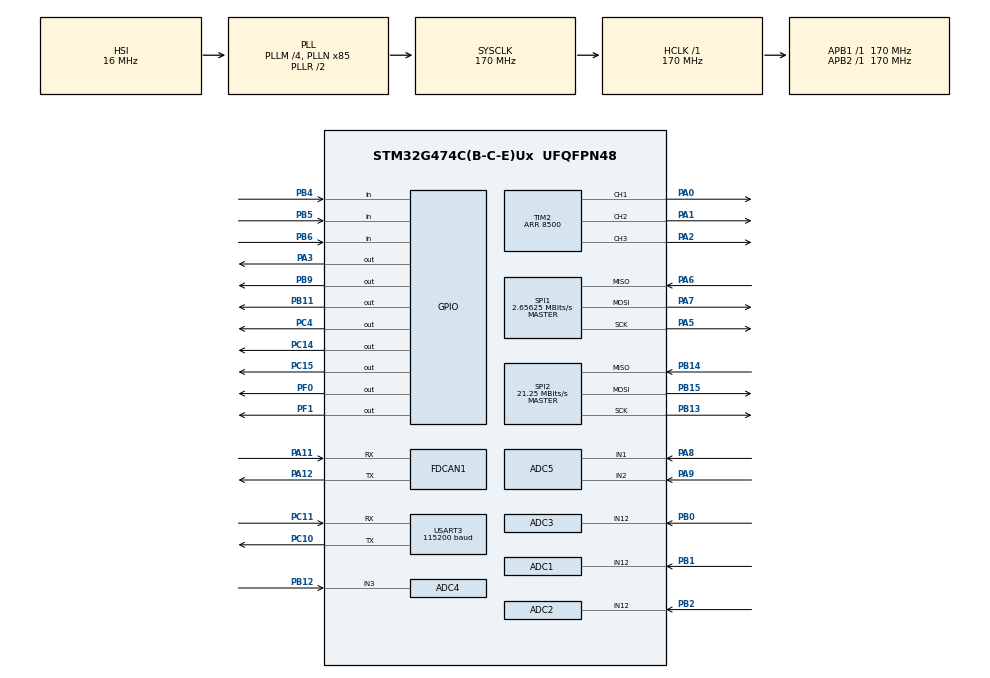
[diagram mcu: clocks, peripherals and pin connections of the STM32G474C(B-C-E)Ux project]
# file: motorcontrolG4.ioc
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ADC1.Channel-0\#ChannelRegularConversion=ADC_CHANNEL_12
ADC1.NbrOfConversionFlag=1
ADC1.master=1
ADC2.Channel-0\#ChannelRegularConversion=ADC_CHANNEL_12
ADC2.NbrOfConversionFlag=1
ADC3.Channel-0\#ChannelRegularConversion=ADC_CHANNEL_12
ADC3.NbrOfConversionFlag=1
ADC3.master=1
ADC4.Channel-0\#ChannelRegularConversion=ADC_CHANNEL_3
ADC4.NbrOfConversionFlag=1
ADC5.Channel-0\#ChannelRegularConversion=ADC_CHANNEL_1
ADC5.GainCompensation=0
ADC5.NbrOfConversionFlag=1
ADC5.OffsetNumber-0\#ChannelRegularConversion=ADC_OFFSET_NONE
ADC5.Rank-0\#ChannelRegularConversion=1
ADC5.SamplingTime-0\#ChannelRegularConversion=ADC_SAMPLETIME_2CYCLES_5
Dma.ADC1.0.Direction=DMA_PERIPH_TO_MEMORY
Dma.ADC1.0.EventEnable=DISABLE
Dma.ADC1.0.Instance=DMA1_Channel1
Dma.ADC1.0.MemDataAlignment=DMA_MDATAALIGN_HALFWORD
Dma.ADC1.0.MemInc=DMA_MINC_ENABLE
Dma.ADC1.0.Mode=DMA_NORMAL
Dma.ADC1.0.PeriphDataAlignment=DMA_PDATAALIGN_HALFWORD
Dma.ADC1.0.PeriphInc=DMA_PINC_DISABLE
Dma.ADC1.0.Polarity=HAL_DMAMUX_REQ_GEN_RISING
Dma.ADC1.0.Priority=DMA_PRIORITY_LOW
Dma.ADC1.0.RequestNumber=1
Dma.ADC1.0.SignalID=NONE
Dma.ADC1.0.SyncEnable=DISABLE
Dma.ADC1.0.SyncPolarity=HAL_DMAMUX_SYNC_NO_EVENT
Dma.ADC1.0.SyncRequestNumber=1
Dma.ADC1.0.SyncSignalID=NONE
Dma.ADC2.1.Direction=DMA_PERIPH_TO_MEMORY
Dma.ADC2.1.EventEnable=DISABLE
Dma.ADC2.1.Instance=DMA1_Channel2
Dma.ADC2.1.MemDataAlignment=DMA_MDATAALIGN_HALFWORD
Dma.ADC2.1.MemInc=DMA_MINC_ENABLE
Dma.ADC2.1.Mode=DMA_NORMAL
Dma.ADC2.1.PeriphDataAlignment=DMA_PDATAALIGN_HALFWORD
Dma.ADC2.1.PeriphInc=DMA_PINC_DISABLE
Dma.ADC2.1.Polarity=HAL_DMAMUX_REQ_GEN_RISING
Dma.ADC2.1.Priority=DMA_PRIORITY_LOW
Dma.ADC2.1.RequestNumber=1
Dma.ADC2.1.SignalID=NONE
Dma.ADC2.1.SyncEnable=DISABLE
Dma.ADC2.1.SyncPolarity=HAL_DMAMUX_SYNC_NO_EVENT
Dma.ADC2.1.SyncRequestNumber=1
Dma.ADC2.1.SyncSignalID=NONE
Dma.ADC3.2.Direction=DMA_PERIPH_TO_MEMORY
Dma.ADC3.2.EventEnable=DISABLE
Dma.ADC3.2.Instance=DMA1_Channel3
Dma.ADC3.2.MemDataAlignment=DMA_MDATAALIGN_HALFWORD
Dma.ADC3.2.MemInc=DMA_MINC_ENABLE
Dma.ADC3.2.Mode=DMA_NORMAL
Dma.ADC3.2.PeriphDataAlignment=DMA_PDATAALIGN_HALFWORD
Dma.ADC3.2.PeriphInc=DMA_PINC_DISABLE
Dma.ADC3.2.Polarity=HAL_DMAMUX_REQ_GEN_RISING
Dma.ADC3.2.Priority=DMA_PRIORITY_LOW
Dma.ADC3.2.RequestNumber=1
Dma.ADC3.2.SignalID=NONE
Dma.ADC3.2.SyncEnable=DISABLE
Dma.ADC3.2.SyncPolarity=HAL_DMAMUX_SYNC_NO_EVENT
Dma.ADC3.2.SyncRequestNumber=1
Dma.ADC3.2.SyncSignalID=NONE
Dma.ADC4.3.Direction=DMA_PERIPH_TO_MEMORY
Dma.ADC4.3.EventEnable=DISABLE
Dma.ADC4.3.Instance=DMA1_Channel4
Dma.ADC4.3.MemDataAlignment=DMA_MDATAALIGN_HALFWORD
Dma.ADC4.3.MemInc=DMA_MINC_ENABLE
Dma.ADC4.3.Mode=DMA_NORMAL
Dma.ADC4.3.PeriphDataAlignment=DMA_PDATAALIGN_HALFWORD
Dma.ADC4.3.PeriphInc=DMA_PINC_DISABLE
Dma.ADC4.3.Polarity=HAL_DMAMUX_REQ_GEN_RISING
Dma.ADC4.3.Priority=DMA_PRIORITY_LOW
Dma.ADC4.3.RequestNumber=1
Dma.ADC4.3.SignalID=NONE
Dma.ADC4.3.SyncEnable=DISABLE
Dma.ADC4.3.SyncPolarity=HAL_DMAMUX_SYNC_NO_EVENT
Dma.ADC4.3.SyncRequestNumber=1
Dma.ADC4.3.SyncSignalID=NONE
Dma.Request0=ADC1
Dma.Request1=ADC2
Dma.Request2=ADC3
Dma.Request3=ADC4
FDCAN1.CalculateBaudRateNominal=1000000
FDCAN1.CalculateTimeBitNominal=1000
FDCAN1.CalculateTimeQuantumNominal=200.0
FDCAN1.NominalPrescaler=34
Mcu.Family=STM32G4
Mcu.Name=STM32G474C(B-C-E)Ux
Mcu.Package=UFQFPN48
NVIC.DMA1_Channel1_IRQn=true\:0\:0\:false\:false\:true\:false\:true\:true
NVIC.DMA1_Channel2_IRQn=true\:0\:0\:false\:false\:true\:false\:true\:true
NVIC.DMA1_Channel3_IRQn=true\:0\:0\:false\:false\:true\:false\:true\:true
NVIC.DMA1_Channel4_IRQn=true\:0\:0\:false\:false\:true\:false\:true\:true
NVIC.FDCAN1_IT0_IRQn=true\:0\:0\:false\:false\:true\:true\:true\:true
NVIC.PriorityGroup=NVIC_PRIORITYGROUP_4
NVIC.TIM2_IRQn=true\:0\:0\:false\:false\:true\:true\:true\:true
NVIC.USART3_IRQn=true\:0\:0\:false\:false\:true\:true\:true\:true
PA0.GPIO_Speed=GPIO_SPEED_FREQ_VERY_HIGH
PA0.Signal=S_TIM2_CH1
PA1.GPIO_Speed=GPIO_SPEED_FREQ_VERY_HIGH
PA1.Signal=S_TIM2_CH2
PA11.Mode=FDCAN_Activate
PA11.Signal=FDCAN1_RX
PA12.Mode=FDCAN_Activate
PA12.Signal=FDCAN1_TX
PA13.Mode=Serial_Wire
PA13.Signal=SYS_JTMS-SWDIO
PA14.Mode=Serial_Wire
PA14.Signal=SYS_JTCK-SWCLK
PA2.GPIO_Speed=GPIO_SPEED_FREQ_VERY_HIGH
PA2.Signal=S_TIM2_CH3
PA3.GPIO_PuPd=GPIO_PULLUP
PA3.GPIO_Speed=GPIO_SPEED_FREQ_VERY_HIGH
PA3.PinState=GPIO_PIN_SET
PA3.Signal=GPIO_Output
PA4.Signal=COMP_DAC11_group
PA5.Mode=Full_Duplex_Master
PA5.Signal=SPI1_SCK
PA6.Mode=Full_Duplex_Master
PA6.Signal=SPI1_MISO
PA7.Mode=Full_Duplex_Master
PA7.Signal=SPI1_MOSI
PA8.Mode=IN1-Single-Ended
PA8.Signal=ADC5_IN1
PA9.Mode=IN2-Single-Ended
PA9.Signal=ADC5_IN2
PB0.Mode=IN12-Single-Ended
PB0.Signal=ADC3_IN12
PB1.Mode=IN12-Single-Ended
PB1.Signal=ADC1_IN12
PB11.Signal=GPIO_Output
PB12.Mode=IN3-Single-Ended
PB12.Signal=ADC4_IN3
PB13.Mode=Full_Duplex_Master
PB13.Signal=SPI2_SCK
PB14.Mode=Full_Duplex_Master
PB14.Signal=SPI2_MISO
PB15.Mode=Full_Duplex_Master
PB15.Signal=SPI2_MOSI
PB2.Mode=IN12-Single-Ended
PB2.Signal=ADC2_IN12
PB4.Signal=GPIO_Input
PB5.Signal=GPIO_Input
PB6.Signal=GPIO_Input
PB9.GPIO_FM9=SYSCFG_FASTMODEPLUS_PB9
PB9.GPIO_ModeDefaultOutputPP=GPIO_MODE_OUTPUT_PP
PB9.GPIO_PuPd=GPIO_NOPULL
PB9.GPIO_Speed=GPIO_SPEED_FREQ_VERY_HIGH
PB9.PinState=GPIO_PIN_RESET
PB9.Signal=GPIO_Output
PC10.Mode=Asynchronous
PC10.Signal=USART3_TX
PC11.Mode=Asynchronous
PC11.Signal=USART3_RX
PC14-OSC32_IN.Signal=GPIO_Output
PC15-OSC32_OUT.Signal=GPIO_Output
PC4.Signal=GPIO_Output
PF0-OSC_IN.GPIO_ModeDefaultOutputPP=GPIO_MODE_OUTPUT_PP
PF0-OSC_IN.GPIO_PuPd=GPIO_NOPULL
PF0-OSC_IN.GPIO_Speed=GPIO_SPEED_FREQ_LOW
PF0-OSC_IN.PinState=GPIO_PIN_RESET
PF0-OSC_IN.Signal=GPIO_Output
PF1-OSC_OUT.GPIO_ModeDefaultOutputPP=GPIO_MODE_OUTPUT_PP
PF1-OSC_OUT.GPIO_PuPd=GPIO_NOPULL
PF1-OSC_OUT.GPIO_Speed=GPIO_SPEED_FREQ_LOW
PF1-OSC_OUT.PinState=GPIO_PIN_RESET
PF1-OSC_OUT.Signal=GPIO_Output
ProjectManager.HeapSize=0x200
ProjectManager.StackSize=0x400
ProjectManager.TargetToolchain=STM32CubeIDE
RCC.ADC12Freq_Value=170000000
RCC.ADC345Freq_Value=170000000
RCC.AHBFreq_Value=170000000
RCC.APB1Freq_Value=170000000
RCC.APB1TimFreq_Value=170000000
RCC.APB2Freq_Value=170000000
RCC.APB2TimFreq_Value=170000000
RCC.CortexFreq_Value=170000000
RCC.EXTERNAL_CLOCK_VALUE=12288000
RCC.HCLKFreq_Value=170000000
RCC.HSE_VALUE=8000000
RCC.HSI48_VALUE=48000000
RCC.HSI_VALUE=16000000
RCC.LSE_VALUE=32768
RCC.PLLM=RCC_PLLM_DIV4
RCC.PLLN=85
RCC.SYSCLKFreq_VALUE=170000000
RCC.SYSCLKSource=RCC_SYSCLKSOURCE_PLLCLK
RCC.USBFreq_Value=170000000
RCC.VCOOutputFreq_Value=340000000
SH.COMP_DAC11_group.0=DAC1_OUT1
SH.S_TIM2_CH1.0=TIM2_CH1,PWM Generation1 CH1
SH.S_TIM2_CH2.0=TIM2_CH2,PWM Generation2 CH2
SH.S_TIM2_CH3.0=TIM2_CH3,PWM Generation3 CH3
SPI1.BaudRatePrescaler=SPI_BAUDRATEPRESCALER_64
SPI1.CLKPhase=SPI_PHASE_2EDGE
SPI1.CRCCalculation=SPI_CRCCALCULATION_DISABLE
SPI1.CalculateBaudRate=2.65625 MBits/s
SPI1.DataSize=SPI_DATASIZE_16BIT
SPI1.Direction=SPI_DIRECTION_2LINES
SPI1.Mode=SPI_MODE_MASTER
SPI1.VirtualType=VM_MASTER
SPI2.BaudRatePrescaler=SPI_BAUDRATEPRESCALER_8
SPI2.CLKPhase=SPI_PHASE_2EDGE
SPI2.CalculateBaudRate=21.25 MBits/s
SPI2.DataSize=SPI_DATASIZE_16BIT
SPI2.Direction=SPI_DIRECTION_2LINES
SPI2.Mode=SPI_MODE_MASTER
SPI2.VirtualType=VM_MASTER
TIM2.AutoReloadPreload=TIM_AUTORELOAD_PRELOAD_ENABLE
TIM2.Channel-PWM\ Generation1\ CH1=TIM_CHANNEL_1
TIM2.Channel-PWM\ Generation2\ CH2=TIM_CHANNEL_2
TIM2.Channel-PWM\ Generation3\ CH3=TIM_CHANNEL_3
TIM2.CounterMode=TIM_COUNTERMODE_CENTERALIGNED2
TIM2.OCFastMode_PWM-PWM\ Generation1\ CH1=TIM_OCFAST_ENABLE
TIM2.OCFastMode_PWM-PWM\ Generation2\ CH2=TIM_OCFAST_ENABLE
TIM2.OCFastMode_PWM-PWM\ Generation3\ CH3=TIM_OCFAST_ENABLE
TIM2.OCMode_PWM-PWM\ Generation1\ CH1=TIM_OCMODE_PWM2
TIM2.OCMode_PWM-PWM\ Generation2\ CH2=TIM_OCMODE_PWM2
TIM2.OCMode_PWM-PWM\ Generation3\ CH3=TIM_OCMODE_PWM2
TIM2.OCPolarity_1=TIM_OCPOLARITY_LOW
TIM2.OCPolarity_2=TIM_OCPOLARITY_LOW
TIM2.OCPolarity_3=TIM_OCPOLARITY_LOW
TIM2.PeriodNoDither=8500
USART3.BaudRate=115200
USART3.VirtualMode-Asynchronous=VM_ASYNC
VP_TIM2_VS_ClockSourceINT.Mode=Internal
board=custom

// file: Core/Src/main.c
/* USER CODE BEGIN Header */
/**
  ******************************************************************************
  * @file           : main.c
  * @brief          : Main program body
  ******************************************************************************
  * @attention
  *
  * <h2><center>&copy; Copyright (c) 2020 STMicroelectronics.
  * All rights reserved.</center></h2>
  *
  * This software component is licensed by ST under BSD 3-Clause license,
  * the "License"; You may not use this file except in compliance with the
  * License. You may obtain a copy of the License at:
  *                        opensource.org/licenses/BSD-3-Clause
  *
  ******************************************************************************
  */

/// high-bandwidth 3-phase motor control for robots
/// Written by Ben Katz, with much inspiration from Bayley Wang, Nick Kirkby, Shane Colton, David Otten, and others
/// Hardware documentation can be found at build-its.blogspot.com
///
/// Edited and ported to STM32G474 by Joey Byrnes

/* USER CODE END Header */
#include "main.h"
#include "adc.h"
#include "dma.h"
#include "fdcan.h"
#include "spi.h"
#include "tim.h"
#include "usart.h"
#include "gpio.h"

/* USER CODE BEGIN Includes */
#include "structs.h"
#include <stdio.h>
#include <string.h>

#include "stm32g4xx.h"
#include "flash_writer.h"
#include "position_sensor.h"
#include "preference_writer.h"
#include "hw_config.h"
#include "user_config.h"
#include "fsm.h"
#include "drv8323.h"
#include "foc.h"
#include "math_ops.h"
#include "calibration.h"
/* USER CODE END Includes */

/* USER CODE BEGIN PD */
/* !!! Be careful the user area should be in another bank than the code !!! */
#define FLASH_USER_START_ADDR   ((uint32_t)0x08040000)   /* Start @ of user Flash area */

/* USER CODE END PD */

/* USER CODE BEGIN PM */

#define VERSION_NUM 2.0f

/* USER CODE END PM */

/* USER CODE BEGIN PV */

/* Flash Registers */
float __float_reg[MAX_FLOATS_IN_FLASH];
int __int_reg[MAX_INTS_IN_FLASH];
PreferenceWriter prefs;

int count = 0;

/* Structs for control, etc */

ControllerStruct controller;
ObserverStruct observer;
COMStruct com;
FSMStruct state;
EncoderStruct comm_encoder;
DRVStruct drv;
CalStruct comm_encoder_cal;
CANTxMessage can_tx;
CANRxMessage can_rx;

/* init but don't allocate calibration arrays */
int *error_array = NULL;
int *lut_array = NULL;

uint8_t Serial2RxBuffer[1];//JB

/* USER CODE END PV */

void SystemClock_Config(void);

int main(void)
{

  /* MCU Configuration--------------------------------------------------------*/

  /* Reset of all peripherals, Initializes the Flash interface and the Systick. */
  HAL_Init();

  /* Configure the system clock */
  SystemClock_Config();

  /* Initialize all configured peripherals */
  MX_GPIO_Init();
  MX_DMA_Init();
  MX_ADC1_Init();
  MX_ADC2_Init();
  MX_ADC3_Init();
  MX_ADC5_Init();
  MX_SPI1_Init();
  MX_SPI2_Init();
  MX_TIM2_Init();
  MX_USART3_UART_Init();
  MX_ADC4_Init();
  MX_FDCAN1_Init();
  /* USER CODE BEGIN 2 */

  /* Load settings from flash */
  preference_writer_init(&prefs, 0);
  preference_writer_load(prefs);

  /* Sanitize configs in case flash is empty*/
  if(E_ZERO==-1){E_ZERO = 0;}
  if(M_ZERO==-1){M_ZERO = 0;}
  if(isnan(I_BW) || I_BW==-1){I_BW = 1000;}
  if(isnan(I_MAX) || I_MAX ==-1){I_MAX=40;}
  if(isnan(I_FW_MAX) || I_FW_MAX ==-1){I_FW_MAX=0;}
  if(CAN_ID==-1){CAN_ID = 1;}
  if(CAN_MASTER==-1){CAN_MASTER = 0;}
  if(CAN_TIMEOUT==-1){CAN_TIMEOUT = 1000;}
  if(isnan(R_NOMINAL) || R_NOMINAL==-1){R_NOMINAL = 0.0f;}
  if(isnan(TEMP_MAX) || TEMP_MAX==-1){TEMP_MAX = 125.0f;}
  if(isnan(I_MAX_CONT) || I_MAX_CONT==-1){I_MAX_CONT = 14.0f;}
  if(isnan(I_CAL)||I_CAL==-1){I_CAL = 5.0f;}
  if(isnan(PPAIRS) || PPAIRS==-1){PPAIRS = 14.0f;}
  if(isnan(GR) || GR==-1){GR = 1.0f;}
  if(isnan(KT) || KT==-1){KT = 1.0f;}
  if(isnan(KP_MAX) || KP_MAX==-1){KP_MAX = 500.0f;}
  if(isnan(KD_MAX) || KD_MAX==-1){KD_MAX = 5.0f;}
  if(isnan(P_MAX)){P_MAX = 12.5f;}
  if(isnan(P_MIN)){P_MIN = -12.5f;}
  if(isnan(V_MAX)){V_MAX = 65.0f;}
  if(isnan(V_MIN)){V_MIN = -65.0f;}

  printf("\r\nFirmware Version Number: %.2f\n", VERSION_NUM);
  printf("\r\nPorted to STM32G4 by RoboDesign Lab UIUC\r\n\n");

  /* Controller Setup */
  if(PHASE_ORDER){							// Timer channel to phase mapping

  }
  else{

  }

  init_controller_params(&controller);

  /* calibration "encoder" zeroing */
  memset(&comm_encoder_cal.cal_position, 0, sizeof(EncoderStruct));

  /* commutation encoder setup */
  comm_encoder.m_zero = M_ZERO;
  comm_encoder.e_zero = E_ZERO;
  PPAIRS = 14.0f; //JB
  comm_encoder.ppairs = PPAIRS;
  ps_warmup(&comm_encoder, 100);			// clear the noisy data when the encoder first turns on

  if(EN_ENC_LINEARIZATION){memcpy(&comm_encoder.offset_lut, &ENCODER_LUT, sizeof(comm_encoder.offset_lut));}	// Copy the linearization lookup table
  else{memset(&comm_encoder.offset_lut, 0, sizeof(comm_encoder.offset_lut));}
  //for(int i = 0; i<128; i++){printf("%d\r\n", comm_encoder.offset_lut[i]);}

  /* Turn on ADCs */
//  HAL_ADC_Start(&hadc1);
//  HAL_ADC_Start(&hadc2);
//  HAL_ADC_Start(&hadc3);
//  HAL_ADC_Start(&hadc4);//JB

  /* DRV8323 setup */
  HAL_GPIO_WritePin(DRV_CS, GPIO_PIN_SET ); 	// CS high
  HAL_GPIO_WritePin(ENABLE_PIN, GPIO_PIN_SET );
//  HAL_Delay(1);
//  drv_calibrate(drv);
//  HAL_Delay(1);
//  drv_write_DCR(drv, 0x0, DIS_GDF_EN, 0x0, PWM_MODE_3X, 0x0, 0x0, 0x0, 0x0, 0x1);
//  HAL_Delay(1);
//  int CSA_GAIN;
//  if(I_MAX <= 40.0f){CSA_GAIN = CSA_GAIN_40;}	// Up to 40A use 40X amplifier gain
//  else{CSA_GAIN = CSA_GAIN_20;}					// From 40-60A use 20X amplifier gain.  (Make this generic in the future)
//  drv_write_CSACR(drv, 0x0, 0x1, 0x0, CSA_GAIN_40, 0x0, 0x1, 0x1, 0x1, SEN_LVL_0_25);
//  HAL_Delay(1);
//  drv_write_CSACR(drv, 0x0, 0x1, 0x0, CSA_GAIN, 0x1, 0x0, 0x0, 0x0, SEN_LVL_0_25);
//  HAL_Delay(1);
//  zero_current(&controller);
//  HAL_Delay(1);
//  drv_write_OCPCR(drv, TRETRY_50US, DEADTIME_50NS, OCP_RETRY, OCP_DEG_4US, VDS_LVL_0_45);
//
//  HAL_Delay(1);
//  drv_disable_gd(drv);
//  HAL_Delay(1);

 //drv_enable_gd(drv);

  //=======================================================================================================================================
  //drv_calibrate(drv);
  HAL_Delay(1);
  drv_write_DCR(drv, 0x0, DIS_GDF_DIS, 0x0, PWM_MODE_3X, 0x0, 0x0, 0x0, 0x0, 0x1);
  HAL_Delay(1);
  drv_write_DCR(drv, 0x0, DIS_GDF_DIS, 0x0, PWM_MODE_3X, 0x0, 0x0, 0x1, 0x0, 0x1);
  HAL_Delay(1);

  drv_write_CSACR(drv, 0x0, 0x1, 0x0, CSA_GAIN_40, 0x0, 0x1, 0x1, 0x1, SEN_LVL_1_0);   // calibrate shunt amplifiers
  HAL_Delay(1);
  drv_write_CSACR(drv, 0x0, 0x1, 0x0, CSA_GAIN_40, 0x1, 0x0, 0x0, 0x0, SEN_LVL_1_0);
  HAL_Delay(1);
  zero_current(&controller);
  HAL_Delay(1);
  drv_write_OCPCR(drv, TRETRY_50US, DEADTIME_50NS, OCP_NONE, OCP_DEG_8US, VDS_LVL_1_88);
  HAL_Delay(1);

  HAL_Delay(1);
  drv_disable_gd(drv);
  HAL_Delay(1);

  ADC1->CR &= ~ADC_CR_DEEPPWD;
  ADC2->CR &= ~ADC_CR_DEEPPWD;
  ADC3->CR &= ~ADC_CR_DEEPPWD;
  ADC4->CR &= ~ADC_CR_DEEPPWD;

  ADC1->CR |= ADC_CR_ADVREGEN;
  ADC2->CR |= ADC_CR_ADVREGEN;
  ADC3->CR |= ADC_CR_ADVREGEN;
  ADC4->CR |= ADC_CR_ADVREGEN;

  HAL_Delay(1);

  ADC1->CR |= ADC_CR_ADCAL;
  ADC2->CR |= ADC_CR_ADCAL;
  ADC3->CR |= ADC_CR_ADCAL;
  ADC4->CR |= ADC_CR_ADCAL;

  while ((ADC1->CR & ADC_CR_ADCAL) ||
		  (ADC2->CR & ADC_CR_ADCAL) ||
		  (ADC3->CR & ADC_CR_ADCAL) ||
		  (ADC4->CR & ADC_CR_ADCAL));

  HAL_Delay(1);

  ADC1->ISR |= ADC_ISR_ADRDY;
  ADC2->ISR |= ADC_ISR_ADRDY;
  ADC3->ISR |= ADC_ISR_ADRDY;
  ADC4->ISR |= ADC_ISR_ADRDY;

  ADC1->CR |= ADC_CR_ADEN;
  ADC2->CR |= ADC_CR_ADEN;
  ADC3->CR |= ADC_CR_ADEN;
  ADC4->CR |= ADC_CR_ADEN;

  while (!(ADC1->ISR & ADC_ISR_ADRDY) ||
		  !(ADC2->ISR & ADC_ISR_ADRDY) ||
		  !(ADC3->ISR & ADC_ISR_ADRDY) ||
		  !(ADC4->ISR & ADC_ISR_ADRDY));

  ADC1->ISR |= ADC_ISR_ADRDY;
  ADC2->ISR |= ADC_ISR_ADRDY;
  ADC3->ISR |= ADC_ISR_ADRDY;
  ADC4->ISR |= ADC_ISR_ADRDY;

  ADC1->CFGR &= ~(ADC_CFGR_CONT);
  ADC2->CFGR &= ~(ADC_CFGR_CONT);
  ADC3->CFGR &= ~(ADC_CFGR_CONT);
  ADC4->CFGR &= ~(ADC_CFGR_CONT);

  // START ANALOG CALIBRATION:

  ADC1->CR |= 1; // Enable ADC1
  ADC2->CR |= 1; // Enable ADC2
  ADC3->CR |= 1; // Enable ADC3
  ADC4->CR |= 1; // Enable ADC4

  HAL_Delay(1);

  printf("Calculating ADC Offsets...\n");
  uint32_t offset1=0;
  uint32_t offset2=0;
  uint32_t offset3=0;

  for(int c=0;c<100;c++){
	  ADC1->CR |= 0x0004;
	  ADC2->CR |= 0x0004;
	  ADC3->CR |= 0x0004;
	  HAL_Delay(1);
	  offset3 += ADC3->DR;
	  offset2 += ADC2->DR;
	  offset1 += ADC1->DR;
  }

  controller.adc_c_offset = (int)((double)offset3/100.0f);
  controller.adc_b_offset = (int)((double)offset2/100.0f);
  controller.adc_a_offset = (int)((double)offset1/100.0f);

  //=======================================================================================================================================

  printf("ADC A OFFSET: %d, \tADC B OFFSET: %d \tADC C OFFSET: %d\r\n", controller.adc_a_offset, controller.adc_b_offset, controller.adc_c_offset);

  /* Turn on PWM */
  HAL_TIM_PWM_Start(&htim2, TIM_CHANNEL_1);
  HAL_TIM_PWM_Start(&htim2, TIM_CHANNEL_2);
  HAL_TIM_PWM_Start(&htim2, TIM_CHANNEL_3);
//  if (HAL_TIM_PWM_Start(&htim2, TIM_CHANNEL_1) != HAL_OK)
//  {
//	  Error_Handler();
//  }
//  if (HAL_TIM_PWM_Start(&htim2, TIM_CHANNEL_2) != HAL_OK)
//  {
//	  Error_Handler();
//  }
//  if (HAL_TIM_PWM_Start(&htim2, TIM_CHANNEL_3) != HAL_OK)
//  {
//	  Error_Handler();
//  }

  /* CAN setup */
  can_rx_init(&can_rx);
  can_tx_init(&can_tx);

  HAL_FDCAN_Start(&CAN_H);
  HAL_FDCAN_ActivateNotification(&CAN_H, FDCAN_IT_RX_FIFO0_NEW_MESSAGE, 0);

  /* Set Interrupt Priorities */
  HAL_NVIC_SetPriority(PWM_ISR, 0x0,0x0); // commutation > communication
  HAL_NVIC_SetPriority(CAN_ISR, 0x01, 0x01);

  /* Start the FSM */
  state.state = MENU_MODE;
  state.next_state = MENU_MODE;
  state.ready = 1;

  /* Turn on interrupts */
  HAL_UART_Receive_IT(&huart3, (uint8_t *)Serial2RxBuffer, 1);
  HAL_TIM_Base_Start_IT(&htim2);

  /* USER CODE END 2 */

  /* Infinite loop */
  /* USER CODE BEGIN WHILE */

  while (1)
  {

	  HAL_Delay(100);
	  drv_print_faults(drv);
	 // if(state.state==MOTOR_MODE){
	  	  //printf("%.2f %.2f %.2f %.2f %.2f\r\n", controller.p_des, controller.v_des, controller.kp, controller.kd, controller.t_ff);
	  //}
    /* USER CODE END WHILE */

  }
}

void SystemClock_Config(void)
{
  RCC_OscInitTypeDef RCC_OscInitStruct = {0};
  RCC_ClkInitTypeDef RCC_ClkInitStruct = {0};

  /** Configure the main internal regulator output voltage
  */
  HAL_PWREx_ControlVoltageScaling(PWR_REGULATOR_VOLTAGE_SCALE1_BOOST);

  /** Initializes the RCC Oscillators according to the specified parameters
  * in the RCC_OscInitTypeDef structure.
  */
  RCC_OscInitStruct.OscillatorType = RCC_OSCILLATORTYPE_HSI;
  RCC_OscInitStruct.HSIState = RCC_HSI_ON;
  RCC_OscInitStruct.HSICalibrationValue = RCC_HSICALIBRATION_DEFAULT;
  RCC_OscInitStruct.PLL.PLLState = RCC_PLL_ON;
  RCC_OscInitStruct.PLL.PLLSource = RCC_PLLSOURCE_HSI;
  RCC_OscInitStruct.PLL.PLLM = RCC_PLLM_DIV4;
  RCC_OscInitStruct.PLL.PLLN = 85;
  RCC_OscInitStruct.PLL.PLLP = RCC_PLLP_DIV2;
  RCC_OscInitStruct.PLL.PLLQ = RCC_PLLQ_DIV2;
  RCC_OscInitStruct.PLL.PLLR = RCC_PLLR_DIV2;
  if (HAL_RCC_OscConfig(&RCC_OscInitStruct) != HAL_OK)
  {
    Error_Handler();
  }

  /** Initializes the CPU, AHB and APB buses clocks
  */
  RCC_ClkInitStruct.ClockType = RCC_CLOCKTYPE_HCLK|RCC_CLOCKTYPE_SYSCLK
                              |RCC_CLOCKTYPE_PCLK1|RCC_CLOCKTYPE_PCLK2;
  RCC_ClkInitStruct.SYSCLKSource = RCC_SYSCLKSOURCE_PLLCLK;
  RCC_ClkInitStruct.AHBCLKDivider = RCC_SYSCLK_DIV1;
  RCC_ClkInitStruct.APB1CLKDivider = RCC_HCLK_DIV1;
  RCC_ClkInitStruct.APB2CLKDivider = RCC_HCLK_DIV1;

  if (HAL_RCC_ClockConfig(&RCC_ClkInitStruct, FLASH_LATENCY_4) != HAL_OK)
  {
    Error_Handler();
  }
}

/* USER CODE BEGIN 4 */

void HAL_FDCAN_RxFifo0Callback(FDCAN_HandleTypeDef *hfdcan, uint32_t RxFifo0ITs)
{
	if((RxFifo0ITs & FDCAN_IT_RX_FIFO0_NEW_MESSAGE) != RESET)
	{
		/* Retrieve Rx messages from RX FIFO0 */
		if (HAL_FDCAN_GetRxMessage(&CAN_H, FDCAN_RX_FIFO0, &can_rx.rx_header, can_rx.data) != HAL_OK)
		{
			Error_Handler();
		}
		HAL_FDCAN_GetRxMessage(&CAN_H, FDCAN_RX_FIFO0, &can_rx.rx_header, can_rx.data);

		pack_reply(&can_tx, CAN_ID,  comm_encoder.angle_multiturn[0]/GR, comm_encoder.velocity/GR, controller.i_q_filt*KT*GR);

		HAL_FDCAN_AddMessageToTxFifoQ(&CAN_H, &can_tx.tx_header, can_tx.data);

		if(((can_rx.data[0]==0xFF) & (can_rx.data[1]==0xFF) & (can_rx.data[2]==0xFF) & (can_rx.data[3]==0xFF) & (can_rx.data[4]==0xFF) & (can_rx.data[5]==0xFF) & (can_rx.data[6]==0xFF) & (can_rx.data[7]==0xFC))){
			update_fsm(&state, MOTOR_CMD);
		}
		else if(((can_rx.data[0]==0xFF) & (can_rx.data[1]==0xFF) & (can_rx.data[2]==0xFF) & (can_rx.data[3]==0xFF) * (can_rx.data[4]==0xFF) & (can_rx.data[5]==0xFF) & (can_rx.data[6]==0xFF) & (can_rx.data[7]==0xFD))){
			update_fsm(&state, MENU_CMD);
		}
		else if(((can_rx.data[0]==0xFF) & (can_rx.data[1]==0xFF) & (can_rx.data[2]==0xFF) & (can_rx.data[3]==0xFF) * (can_rx.data[4]==0xFF) & (can_rx.data[5]==0xFF) & (can_rx.data[6]==0xFF) & (can_rx.data[7]==0xFE))){
			update_fsm(&state, ZERO_CMD);
		}
		else{
			unpack_cmd(can_rx, controller.commands);
			controller.timeout = 0;
		}

	}
}

/* USER CODE END 4 */

void Error_Handler(void)
{
}
